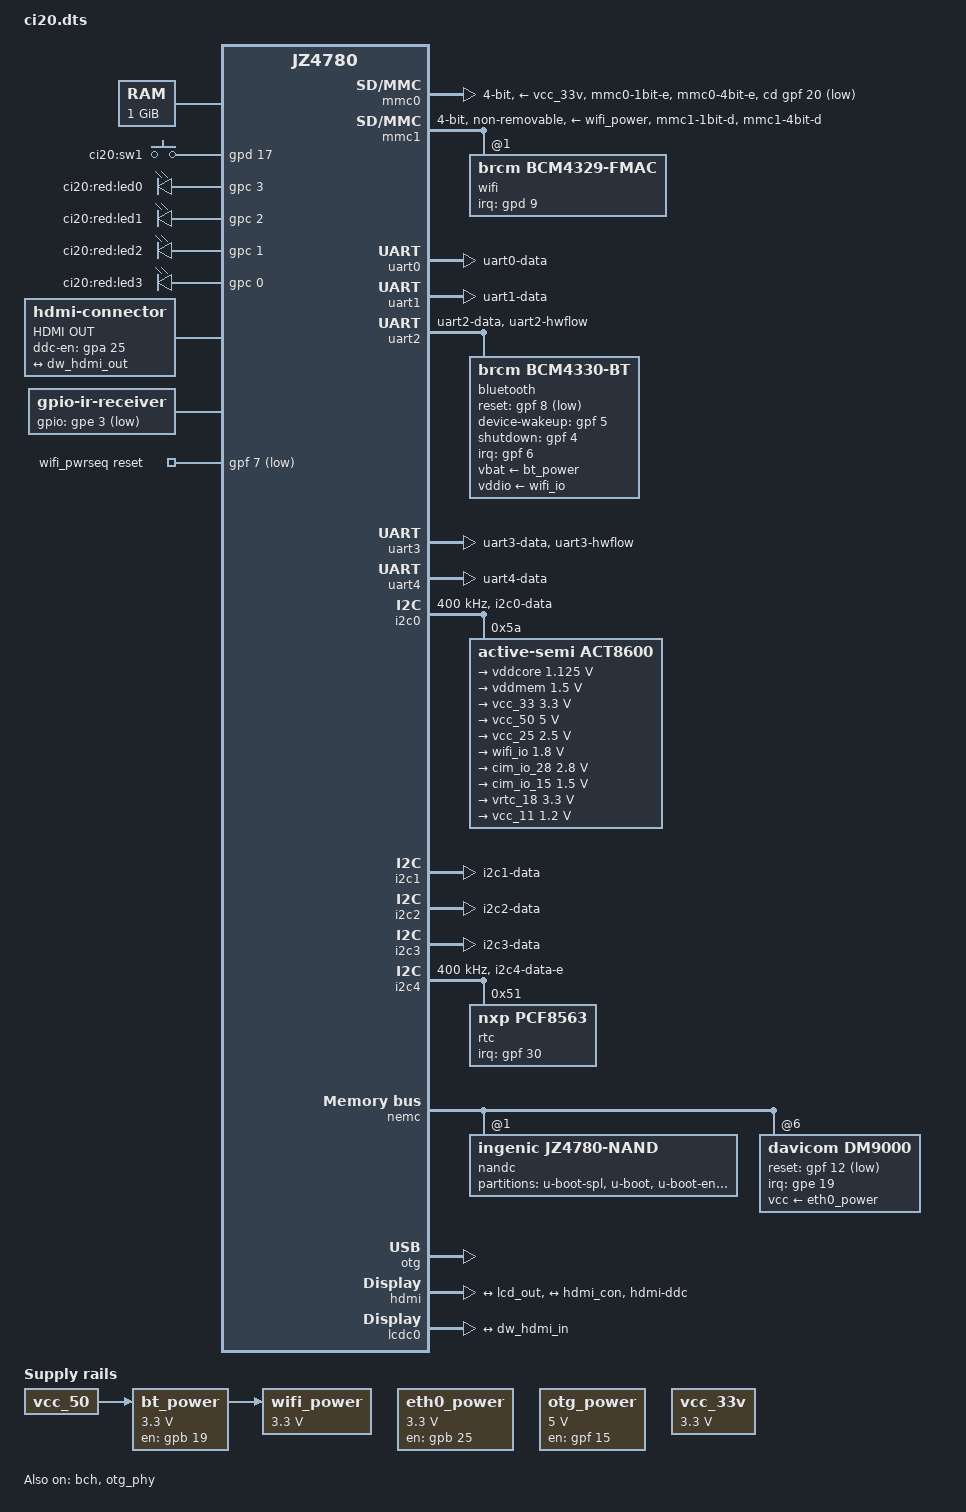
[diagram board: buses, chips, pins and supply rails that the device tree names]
// SPDX-License-Identifier: GPL-2.0
/dts-v1/;

#include "jz4780.dtsi"
#include <dt-bindings/clock/ingenic,tcu.h>
#include <dt-bindings/gpio/gpio.h>
#include <dt-bindings/input/input.h>
#include <dt-bindings/interrupt-controller/irq.h>
#include <dt-bindings/regulator/active-semi,8865-regulator.h>

/ {
	compatible = "img,ci20", "ingenic,jz4780";

	aliases {
		serial0 = &uart0;
		serial1 = &uart1;
		serial3 = &uart3;
		serial4 = &uart4;
	};

	chosen {
		stdout-path = &uart4;
	};

	memory {
		device_type = "memory";
		reg = <0x0 0x10000000
		       0x30000000 0x30000000>;
	};

	gpio-keys {
		compatible = "gpio-keys";

		switch {
			label = "ci20:sw1";
			linux,code = <KEY_F13>;
			gpios = <&gpd 17 GPIO_ACTIVE_HIGH>;
			wakeup-source;
		};
	};

	leds {
		compatible = "gpio-leds";

		led-0 {
			label = "ci20:red:led0";
			gpios = <&gpc 3 GPIO_ACTIVE_HIGH>;
			linux,default-trigger = "none";
		};

		led-1 {
			label = "ci20:red:led1";
			gpios = <&gpc 2 GPIO_ACTIVE_HIGH>;
			linux,default-trigger = "nand-disk";
		};

		led-2 {
			label = "ci20:red:led2";
			gpios = <&gpc 1 GPIO_ACTIVE_HIGH>;
			linux,default-trigger = "cpu1";
		};

		led-3 {
			label = "ci20:red:led3";
			gpios = <&gpc 0 GPIO_ACTIVE_HIGH>;
			linux,default-trigger = "cpu0";
		};
	};

	eth0_power: fixedregulator-0 {
		compatible = "regulator-fixed";

		regulator-name = "eth0_power";
		regulator-min-microvolt = <3300000>;
		regulator-max-microvolt = <3300000>;

		gpio = <&gpb 25 0>;
		enable-active-high;
	};

	hdmi_out: connector {
		compatible = "hdmi-connector";
		label = "HDMI OUT";
		type = "a";

		ddc-en-gpios = <&gpa 25 GPIO_ACTIVE_HIGH>;

		port {
			hdmi_con: endpoint {
				remote-endpoint = <&dw_hdmi_out>;
			};
		};
	};

	ir: ir {
		compatible = "gpio-ir-receiver";
		gpios = <&gpe 3 GPIO_ACTIVE_LOW>;
	};

	bt_power: fixedregulator-1 {
		compatible = "regulator-fixed";

		regulator-name = "bt_power";
		regulator-min-microvolt = <3300000>;
		regulator-max-microvolt = <3300000>;
		regulator-settling-time-us = <1400>;

		vin-supply = <&vcc_50>;

		gpio = <&gpb 19 0>;
		enable-active-high;
	};

	otg_power: fixedregulator-2 {
		compatible = "regulator-fixed";

		regulator-name = "otg_power";
		regulator-min-microvolt = <5000000>;
		regulator-max-microvolt = <5000000>;

		gpio = <&gpf 15 0>;
		enable-active-high;
	};

	wifi_power: fixedregulator-4 {
		compatible = "regulator-fixed";

		regulator-name = "wifi_power";

		/*
		 * Technically it's 5V, the WiFi chip has its own internal
		 * regulators; but the MMC/SD subsystem won't accept such a
		 * value.
		 */
		regulator-min-microvolt = <3300000>;
		regulator-max-microvolt = <3300000>;
		regulator-settling-time-us = <150000>;

		vin-supply = <&bt_power>;
	};

	vcc_33v: fixedregulator-5 {
		compatible = "regulator-fixed";

		regulator-name = "vcc_33v";
		regulator-min-microvolt = <3300000>;
		regulator-max-microvolt = <3300000>;
		regulator-always-on;
	};

	wifi_pwrseq: pwrseq {
		compatible = "mmc-pwrseq-simple";
		reset-gpios = <&gpf 7 GPIO_ACTIVE_LOW>;

		clocks = <&rtc_dev>;
		clock-names = "ext_clock";
	};
};

&ext {
	clock-frequency = <48000000>;
};

&cgu {
	/*
	 * Use the 32.768 kHz oscillator as the parent of the RTC for a higher
	 * precision.
	 */
	assigned-clocks = <&cgu JZ4780_CLK_OTGPHY>, <&cgu JZ4780_CLK_RTC>,
			  <&cgu JZ4780_CLK_SSIPLL>, <&cgu JZ4780_CLK_SSI>,
			  <&cgu JZ4780_CLK_HDMI>, <&cgu JZ4780_CLK_MSCMUX>;
	assigned-clock-parents = <0>, <&cgu JZ4780_CLK_RTCLK>,
				 <&cgu JZ4780_CLK_MPLL>,
				 <&cgu JZ4780_CLK_SSIPLL>,
				 <0>, <&cgu JZ4780_CLK_MPLL>;
	assigned-clock-rates = <48000000>, <0>, <54000000>, <0>, <27000000>;
};

&tcu {
	/*
	 * 750 kHz for the system timers and clocksource,
	 * use channel #0 and #1 for the per cpu system timers,
	 * and use channel #2 for the clocksource.
	 *
	 * 3000 kHz for the OST timer to provide a higher
	 * precision clocksource.
	 */
	assigned-clocks = <&tcu TCU_CLK_TIMER0>, <&tcu TCU_CLK_TIMER1>,
					  <&tcu TCU_CLK_TIMER2>, <&tcu TCU_CLK_OST>;
	assigned-clock-rates = <750000>, <750000>, <750000>, <3000000>;
};

&mmc0 {
	status = "okay";

	bus-width = <4>;
	max-frequency = <50000000>;

	pinctrl-names = "default";
	pinctrl-0 = <&pins_mmc0>;

	cd-gpios = <&gpf 20 GPIO_ACTIVE_LOW>;
	vmmc-supply = <&vcc_33v>;
	vqmmc-supply = <&vcc_33v>;
};

&mmc1 {
	status = "okay";

	bus-width = <4>;
	max-frequency = <25000000>;
	mmc-pwrseq = <&wifi_pwrseq>;
	vmmc-supply = <&wifi_power>;
	vqmmc-supply = <&wifi_io>;
	non-removable;

	pinctrl-names = "default";
	pinctrl-0 = <&pins_mmc1>;

	#address-cells = <1>;
	#size-cells = <0>;

	wifi@1 {
		compatible = "brcm,bcm4329-fmac";
		reg = <1>;

		interrupt-parent = <&gpd>;
		interrupts = <9 IRQ_TYPE_EDGE_FALLING>;
		interrupt-names = "host-wake";
	};
};

&uart0 {
	status = "okay";

	pinctrl-names = "default";
	pinctrl-0 = <&pins_uart0>;
};

&uart1 {
	status = "okay";

	pinctrl-names = "default";
	pinctrl-0 = <&pins_uart1>;
};

&uart2 {
	status = "okay";

	pinctrl-names = "default";
	pinctrl-0 = <&pins_uart2>;
	uart-has-rtscts;

	bluetooth {
		compatible = "brcm,bcm4330-bt";

		vbat-supply = <&bt_power>;
		vddio-supply = <&wifi_io>;

		interrupt-parent = <&gpf>;
		interrupts = <6 IRQ_TYPE_EDGE_RISING>;
		interrupt-names = "host-wakeup";

		clocks = <&rtc_dev>;
		clock-names = "lpo";

		reset-gpios = <&gpf 8 GPIO_ACTIVE_LOW>;
		device-wakeup-gpios = <&gpf 5 GPIO_ACTIVE_HIGH>;
		shutdown-gpios = <&gpf 4 GPIO_ACTIVE_HIGH>;
	};
};

&uart3 {
	status = "okay";

	pinctrl-names = "default";
	pinctrl-0 = <&pins_uart3>;
};

&uart4 {
	status = "okay";

	pinctrl-names = "default";
	pinctrl-0 = <&pins_uart4>;
};

&i2c0 {
	status = "okay";

	pinctrl-names = "default";
	pinctrl-0 = <&pins_i2c0>;

	clock-frequency = <400000>;

	act8600: act8600@5a {
		compatible = "active-semi,act8600";
		reg = <0x5a>;

		regulators {
			vddcore: DCDC1 {
				regulator-min-microvolt = <1125000>;
				regulator-max-microvolt = <1125000>;
				vp1-supply = <&vcc_33v>;
				regulator-always-on;
			};
			vddmem: DCDC2 {
				regulator-min-microvolt = <1500000>;
				regulator-max-microvolt = <1500000>;
				vp2-supply = <&vcc_33v>;
				regulator-always-on;
			};
			vcc_33: DCDC3 {
				regulator-min-microvolt = <3300000>;
				regulator-max-microvolt = <3300000>;
				vp3-supply = <&vcc_33v>;
				regulator-always-on;
			};
			vcc_50: SUDCDC_REG4 {
				regulator-min-microvolt = <5000000>;
				regulator-max-microvolt = <5000000>;
				regulator-always-on;
			};
			vcc_25: LDO5 {
				regulator-min-microvolt = <2500000>;
				regulator-max-microvolt = <2500000>;
				inl-supply = <&vcc_33v>;
				regulator-always-on;
			};
			wifi_io: LDO6 {
				regulator-min-microvolt = <1800000>;
				regulator-max-microvolt = <1800000>;
				regulator-settling-time-us = <150000>;
				inl-supply = <&vcc_33v>;
			};
			cim_io_28: LDO7 {
				regulator-min-microvolt = <2800000>;
				regulator-max-microvolt = <2800000>;
				inl-supply = <&vcc_33v>;
			};
			cim_io_15: LDO8 {
				regulator-min-microvolt = <1500000>;
				regulator-max-microvolt = <1500000>;
				inl-supply = <&vcc_33v>;
			};
			vrtc_18: LDO_REG9 {
				/* Despite the datasheet stating 3.3V
				 * for REG9 and the driver expecting that,
				 * REG9 outputs 1.8V.
				 * Likely the CI20 uses a proprietary
				 * factory programmed chip variant.
				 * Since this is a simple on/off LDO the
				 * exact values do not matter.
				 */
				regulator-min-microvolt = <3300000>;
				regulator-max-microvolt = <3300000>;
				regulator-always-on;
			};
			vcc_11: LDO_REG10 {
				regulator-min-microvolt = <1200000>;
				regulator-max-microvolt = <1200000>;
				regulator-always-on;
			};
		};
	};
};

&i2c1 {
	status = "okay";

	pinctrl-names = "default";
	pinctrl-0 = <&pins_i2c1>;

};

&i2c2 {
	status = "okay";

	pinctrl-names = "default";
	pinctrl-0 = <&pins_i2c2>;

};

&i2c3 {
	status = "okay";

	pinctrl-names = "default";
	pinctrl-0 = <&pins_i2c3>;

};

&i2c4 {
	status = "okay";

	pinctrl-names = "default";
	pinctrl-0 = <&pins_i2c4>;

	clock-frequency = <400000>;

		rtc@51 {
			compatible = "nxp,pcf8563";
			reg = <0x51>;

			interrupt-parent = <&gpf>;
			interrupts = <30 IRQ_TYPE_LEVEL_LOW>;
		};
};

&nemc {
	status = "okay";

	nandc: nand-controller@1 {
		compatible = "ingenic,jz4780-nand";
		reg = <1 0 0x1000000>;

		#address-cells = <1>;
		#size-cells = <0>;

		ecc-engine = <&bch>;

		ingenic,nemc-tAS = <10>;
		ingenic,nemc-tAH = <5>;
		ingenic,nemc-tBP = <10>;
		ingenic,nemc-tAW = <15>;
		ingenic,nemc-tSTRV = <100>;

		/*
		 * Only CLE/ALE are needed for the devices that are connected, rather
		 * than the full address line set.
		 */
		pinctrl-names = "default";
		pinctrl-0 = <&pins_nemc>;

		nand@1 {
			reg = <1>;

			nand-ecc-step-size = <1024>;
			nand-ecc-strength = <24>;
			nand-ecc-mode = "hw";
			nand-on-flash-bbt;

			pinctrl-names = "default";
			pinctrl-0 = <&pins_nemc_cs1>;

			partitions {
				compatible = "fixed-partitions";
				#address-cells = <2>;
				#size-cells = <2>;

				partition@0 {
					label = "u-boot-spl";
					reg = <0x0 0x0 0x0 0x800000>;
				};

				partition@800000 {
					label = "u-boot";
					reg = <0x0 0x800000 0x0 0x200000>;
				};

				partition@a00000 {
					label = "u-boot-env";
					reg = <0x0 0xa00000 0x0 0x200000>;
				};

				partition@c00000 {
					label = "boot";
					reg = <0x0 0xc00000 0x0 0x4000000>;
				};

				partition@4c00000 {
					label = "system";
					reg = <0x0 0x4c00000 0x1 0xfb400000>;
				};
			};
		};
	};

	dm9000@6 {
		compatible = "davicom,dm9000";
		davicom,no-eeprom;

		pinctrl-names = "default";
		pinctrl-0 = <&pins_nemc_cs6>;

		reg = <6 0 1>, /* addr */
		      <6 2 1>; /* data */

		ingenic,nemc-tAS = <15>;
		ingenic,nemc-tAH = <10>;
		ingenic,nemc-tBP = <20>;
		ingenic,nemc-tAW = <50>;
		ingenic,nemc-tSTRV = <100>;

		reset-gpios = <&gpf 12 GPIO_ACTIVE_LOW>;
		vcc-supply = <&eth0_power>;

		interrupt-parent = <&gpe>;
		interrupts = <19 IRQ_TYPE_EDGE_RISING>;

		nvmem-cells = <&eth0_addr>;
		nvmem-cell-names = "mac-address";
	};
};

&bch {
	status = "okay";
};

&otg_phy {
	status = "okay";

	vcc-supply = <&otg_power>;
};

&otg {
	status = "okay";
};

&pinctrl {
	pins_uart0: uart0 {
		function = "uart0";
		groups = "uart0-data";
		bias-disable;
	};

	pins_uart1: uart1 {
		function = "uart1";
		groups = "uart1-data";
		bias-disable;
	};

	pins_uart2: uart2 {
		function = "uart2";
		groups = "uart2-data", "uart2-hwflow";
		bias-disable;
	};

	pins_uart3: uart3 {
		function = "uart3";
		groups = "uart3-data", "uart3-hwflow";
		bias-disable;
	};

	pins_uart4: uart4 {
		function = "uart4";
		groups = "uart4-data";
		bias-disable;
	};

	pins_i2c0: i2c0 {
		function = "i2c0";
		groups = "i2c0-data";
		bias-disable;
	};

	pins_i2c1: i2c1 {
		function = "i2c1";
		groups = "i2c1-data";
		bias-disable;
	};

	pins_i2c2: i2c2 {
		function = "i2c2";
		groups = "i2c2-data";
		bias-disable;
	};

	pins_i2c3: i2c3 {
		function = "i2c3";
		groups = "i2c3-data";
		bias-disable;
	};

	pins_i2c4: i2c4 {
		function = "i2c4";
		groups = "i2c4-data-e";
		bias-disable;
	};

	pins_hdmi_ddc: hdmi_ddc {
		function = "hdmi-ddc";
		groups = "hdmi-ddc";
		bias-disable;
	};

	pins_nemc: nemc {
		function = "nemc";
		groups = "nemc-data", "nemc-cle-ale", "nemc-rd-we", "nemc-frd-fwe";
		bias-disable;
	};

	pins_nemc_cs1: nemc-cs1 {
		function = "nemc-cs1";
		groups = "nemc-cs1";
		bias-disable;
	};

	pins_nemc_cs6: nemc-cs6 {
		function = "nemc-cs6";
		groups = "nemc-cs6";
		bias-disable;
	};

	pins_mmc0: mmc0 {
		function = "mmc0";
		groups = "mmc0-1bit-e", "mmc0-4bit-e";
		bias-disable;
	};

	pins_mmc1: mmc1 {
		function = "mmc1";
		groups = "mmc1-1bit-d", "mmc1-4bit-d";
		bias-disable;
	};
};

&hdmi {
	status = "okay";

	pinctrl-names = "default";
	pinctrl-0 = <&pins_hdmi_ddc>;

	ports {
		#address-cells = <1>;
		#size-cells = <0>;

		port@0 {
			reg = <0>;
			dw_hdmi_in: endpoint {
				remote-endpoint = <&lcd_out>;
			};
		};

		port@1 {
			reg = <1>;
			dw_hdmi_out: endpoint {
				remote-endpoint = <&hdmi_con>;
			};
		};
	};
};

&lcdc0 {
	status = "okay";

	port {
		lcd_out: endpoint {
			remote-endpoint = <&dw_hdmi_in>;
		};
	};
};
